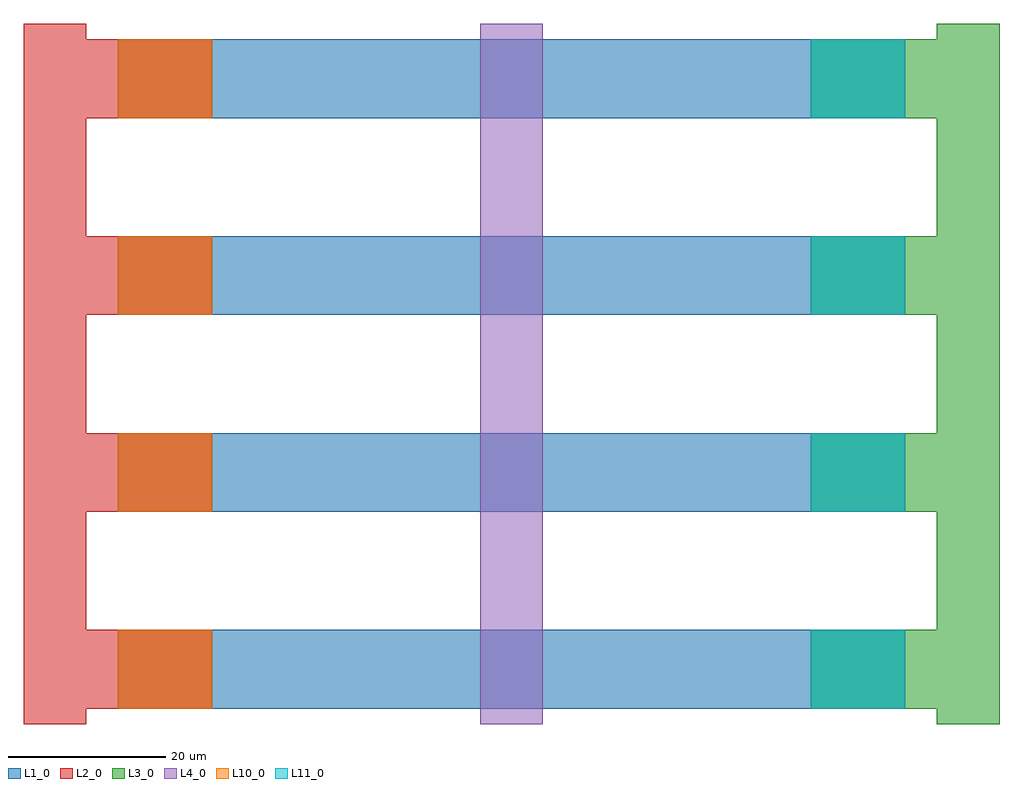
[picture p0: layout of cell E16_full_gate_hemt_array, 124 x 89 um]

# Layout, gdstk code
import gdstk
lib = gdstk.Library(unit=1e-6, precision=1e-09)
def R(c, l, rs):  # rectangles x0, y0, x1, y1
    for r in rs: c.add(gdstk.rectangle(r[:2], r[2:], *l))
def A(c, l, x, y, w, h, nx, ny, dx, dy):  # array of equal rectangles
    R(c, l, [(x+i*dx, y+j*dy, x+i*dx+w, y+j*dy+h) for i in range(nx) for j in range(ny)])
L1_0 = (1, 0)
L2_0 = (2, 0)
L3_0 = (3, 0)
L4_0 = (4, 0)
L10_0 = (10, 0)
L11_0 = (11, 0)

e16_full_gate_hemt_array = lib.new_cell('E16_full_gate_hemt_array')
A(e16_full_gate_hemt_array, L1_0, 0, 10, 100, 10, 1, 4, 0, 25)
A(e16_full_gate_hemt_array, L2_0, -12, 10, 24, 10, 1, 4, 0, 25)
R(e16_full_gate_hemt_array, L2_0, [(-12,8,-4,97)])
A(e16_full_gate_hemt_array, L3_0, 88, 10, 24, 10, 1, 4, 0, 25)
R(e16_full_gate_hemt_array, L3_0, [(104,8,112,97)])
R(e16_full_gate_hemt_array, L4_0, [(46,8,54,97)])
A(e16_full_gate_hemt_array, L10_0, 0, 10, 12, 10, 1, 4, 0, 25)
A(e16_full_gate_hemt_array, L11_0, 88, 10, 12, 10, 1, 4, 0, 25)

lib.write_gds('E16_full_gate_hemt_array.gds')
